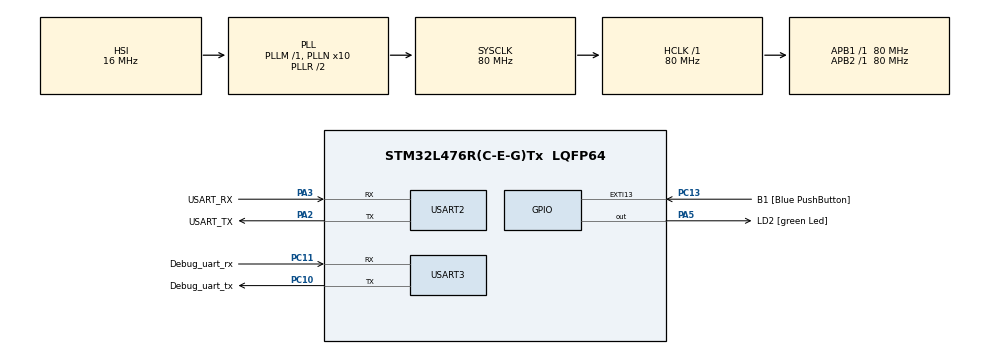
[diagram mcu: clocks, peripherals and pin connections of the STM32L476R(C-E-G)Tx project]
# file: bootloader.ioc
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Mcu.Family=STM32L4
Mcu.Name=STM32L476R(C-E-G)Tx
Mcu.Package=LQFP64
NVIC.EXTI15_10_IRQn=true\:0\:0\:false\:false\:true\:true\:true
NVIC.PriorityGroup=NVIC_PRIORITYGROUP_4
NVIC.USART2_IRQn=true\:0\:0\:false\:false\:true\:true\:true
NVIC.USART3_IRQn=true\:0\:0\:false\:false\:true\:true\:true
PA13\ (JTMS-SWDIO).GPIO_Label=TMS
PA13\ (JTMS-SWDIO).Mode=Serial_Wire
PA13\ (JTMS-SWDIO).Signal=SYS_JTMS-SWDIO
PA14\ (JTCK-SWCLK).GPIO_Label=TCK
PA14\ (JTCK-SWCLK).Mode=Serial_Wire
PA14\ (JTCK-SWCLK).Signal=SYS_JTCK-SWCLK
PA2.GPIO_Label=USART_TX
PA2.GPIO_Mode=GPIO_MODE_AF_PP
PA2.GPIO_PuPd=GPIO_NOPULL
PA2.GPIO_Speed=GPIO_SPEED_FREQ_VERY_HIGH
PA2.Mode=Asynchronous
PA2.Signal=USART2_TX
PA3.GPIO_Label=USART_RX
PA3.GPIO_Mode=GPIO_MODE_AF_PP
PA3.GPIO_PuPd=GPIO_NOPULL
PA3.GPIO_Speed=GPIO_SPEED_FREQ_VERY_HIGH
PA3.Mode=Asynchronous
PA3.Signal=USART2_RX
PA5.GPIO_Label=LD2 [green Led]
PA5.GPIO_ModeDefaultOutputPP=GPIO_MODE_OUTPUT_PP
PA5.GPIO_PuPd=GPIO_NOPULL
PA5.GPIO_Speed=GPIO_SPEED_FREQ_LOW
PA5.Signal=GPIO_Output
PB3\ (JTDO-TRACESWO).GPIO_Label=SWO
PB3\ (JTDO-TRACESWO).Signal=SYS_JTDO-SWO
PC10.GPIO_Label=Debug_uart_tx
PC10.Mode=Asynchronous
PC10.Signal=USART3_TX
PC11.GPIO_Label=Debug_uart_rx
PC11.Mode=Asynchronous
PC11.Signal=USART3_RX
PC13.GPIO_Label=B1 [Blue PushButton]
PC13.GPIO_ModeDefaultEXTI=GPIO_MODE_IT_FALLING
PC13.GPIO_PuPd=GPIO_NOPULL
PC13.Signal=GPXTI13
PC14-OSC32_IN\ (PC14).Mode=LSE-External-Oscillator
PC14-OSC32_IN\ (PC14).Signal=RCC_OSC32_IN
PC15-OSC32_OUT\ (PC15).Mode=LSE-External-Oscillator
PC15-OSC32_OUT\ (PC15).Signal=RCC_OSC32_OUT
PH0-OSC_IN\ (PH0).Signal=RCC_OSC_IN
PH1-OSC_OUT\ (PH1).Signal=RCC_OSC_OUT
ProjectManager.HeapSize=0x200
ProjectManager.StackSize=0x400
ProjectManager.TargetToolchain=TrueSTUDIO
RCC.ADCFreq_Value=64000000
RCC.AHBFreq_Value=80000000
RCC.APB1Freq_Value=80000000
RCC.APB1TimFreq_Value=80000000
RCC.APB2Freq_Value=80000000
RCC.APB2TimFreq_Value=80000000
RCC.CortexFreq_Value=80000000
RCC.HCLKFreq_Value=80000000
RCC.HSE_VALUE=8000000
RCC.HSI_VALUE=16000000
RCC.MSI_VALUE=4000000
RCC.PLLN=10
RCC.PLLSourceVirtual=RCC_PLLSOURCE_HSI
RCC.PREFETCH_ENABLE=1
RCC.SYSCLKFreq_VALUE=80000000
RCC.SYSCLKSource=RCC_SYSCLKSOURCE_PLLCLK
RCC.USBFreq_Value=64000000
RCC.VCOOutputFreq_Value=160000000
USART2.VirtualMode-Asynchronous=VM_ASYNC
USART3.VirtualMode-Asynchronous=VM_ASYNC
VP_CRC_VS_CRC.Mode=CRC_Activate
board=NUCLEO-L476RG

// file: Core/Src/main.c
/* USER CODE BEGIN Header */
/**
  ******************************************************************************
  * @file           : main.c
  * @brief          : Main program body
  ******************************************************************************
  * @attention
  *
  * <h2><center>&copy; Copyright (c) 2021 STMicroelectronics.
  * All rights reserved.</center></h2>
  *
  * This software component is licensed by ST under BSD 3-Clause license,
  * the "License"; You may not use this file except in compliance with the
  * License. You may obtain a copy of the License at:
  *                        opensource.org/licenses/BSD-3-Clause
  *
  ******************************************************************************
  */
#include <stdint.h>
#include <stdio.h>
#include <string.h>
#include <stdlib.h>
#include <stdarg.h>
/* USER CODE END Header */
#include "main.h"

/* USER CODE BEGIN PD */
#define BL_DEBUG_MSG_EN

#define C_UART  &huart2
#define D_UART  &huart3
/* USER CODE END PD */

CRC_HandleTypeDef hcrc;

UART_HandleTypeDef huart2;
UART_HandleTypeDef huart3;

void SystemClock_Config(void);
static void MX_GPIO_Init(void);
static void MX_USART2_UART_Init(void);
static void MX_USART3_UART_Init(void);
static void MX_CRC_Init(void);
/* USER CODE BEGIN PFP */

void printmsg(char *format,...);
void bootloader_uart_readData();
void bootloader_jump_UserApp();

/* USER CODE END PFP */

/* USER CODE BEGIN 0 */
uint8_t supported_commands[] = {
                               BL_GET_VER ,
                               BL_GET_HELP,
                               BL_GET_CID,
                               BL_GET_RDP_STATUS,
                               BL_GO_TO_ADDR,
                               BL_FLASH_ERASE,
                               BL_MEM_WRITE,
                               BL_READ_SECTOR_P_STATUS} ;

char somechar[] = "Hello from Bootloader : Atollic TrueStudio\r\n";

#define BL_RX_LEN  200
uint8_t bl_rx_buffer[BL_RX_LEN];

volatile uint8_t start_bootloader_flag =0;

/* USER CODE END 0 */

int main(void)
{
  /* USER CODE BEGIN 1 */
	uint8_t i = 10;
  /* USER CODE END 1 */

  /* MCU Configuration--------------------------------------------------------*/

  /* Reset of all peripherals, Initializes the Flash interface and the Systick. */
  HAL_Init();

  /* Configure the system clock */
  SystemClock_Config();

  /* Initialize all configured peripherals */
  MX_GPIO_Init();
  MX_USART2_UART_Init();
  MX_USART3_UART_Init();
  MX_CRC_Init();
  /* USER CODE BEGIN 2 */
 do
 {
	  if(start_bootloader_flag == 1)
	  {
		  printmsg("BL_DEBUG_MSG : Button is pressed..., Going to Bootloader Mode \r\n");
		  bootloader_uart_readData();
		  start_bootloader_flag =0;
	  }
	  HAL_Delay(6000);
	  i--;
  }while(i);

	  printmsg("BL_DEBUG_MSG: Button is not pressed ..., Jumping to User applications \r\n");
	  bootloader_jump_UserApp();

  /* USER CODE END 2 */

  /* Infinite loop */
  while (1)
  {

  }
}

void SystemClock_Config(void)
{
  RCC_OscInitTypeDef RCC_OscInitStruct = {0};
  RCC_ClkInitTypeDef RCC_ClkInitStruct = {0};
  RCC_PeriphCLKInitTypeDef PeriphClkInit = {0};

  /** Initializes the RCC Oscillators according to the specified parameters
  * in the RCC_OscInitTypeDef structure.
  */
  RCC_OscInitStruct.OscillatorType = RCC_OSCILLATORTYPE_HSI;
  RCC_OscInitStruct.HSIState = RCC_HSI_ON;
  RCC_OscInitStruct.HSICalibrationValue = RCC_HSICALIBRATION_DEFAULT;
  RCC_OscInitStruct.PLL.PLLState = RCC_PLL_ON;
  RCC_OscInitStruct.PLL.PLLSource = RCC_PLLSOURCE_HSI;
  RCC_OscInitStruct.PLL.PLLM = 1;
  RCC_OscInitStruct.PLL.PLLN = 10;
  RCC_OscInitStruct.PLL.PLLP = RCC_PLLP_DIV7;
  RCC_OscInitStruct.PLL.PLLQ = RCC_PLLQ_DIV2;
  RCC_OscInitStruct.PLL.PLLR = RCC_PLLR_DIV2;
  if (HAL_RCC_OscConfig(&RCC_OscInitStruct) != HAL_OK)
  {
    Error_Handler();
  }
  /** Initializes the CPU, AHB and APB buses clocks
  */
  RCC_ClkInitStruct.ClockType = RCC_CLOCKTYPE_HCLK|RCC_CLOCKTYPE_SYSCLK
                              |RCC_CLOCKTYPE_PCLK1|RCC_CLOCKTYPE_PCLK2;
  RCC_ClkInitStruct.SYSCLKSource = RCC_SYSCLKSOURCE_PLLCLK;
  RCC_ClkInitStruct.AHBCLKDivider = RCC_SYSCLK_DIV1;
  RCC_ClkInitStruct.APB1CLKDivider = RCC_HCLK_DIV1;
  RCC_ClkInitStruct.APB2CLKDivider = RCC_HCLK_DIV1;

  if (HAL_RCC_ClockConfig(&RCC_ClkInitStruct, FLASH_LATENCY_4) != HAL_OK)
  {
    Error_Handler();
  }
  PeriphClkInit.PeriphClockSelection = RCC_PERIPHCLK_USART2|RCC_PERIPHCLK_USART3;
  PeriphClkInit.Usart2ClockSelection = RCC_USART2CLKSOURCE_PCLK1;
  PeriphClkInit.Usart3ClockSelection = RCC_USART3CLKSOURCE_PCLK1;
  if (HAL_RCCEx_PeriphCLKConfig(&PeriphClkInit) != HAL_OK)
  {
    Error_Handler();
  }
  /** Configure the main internal regulator output voltage
  */
  if (HAL_PWREx_ControlVoltageScaling(PWR_REGULATOR_VOLTAGE_SCALE1) != HAL_OK)
  {
    Error_Handler();
  }
}

static void MX_CRC_Init(void)
{

  hcrc.Instance = CRC;
  hcrc.Init.DefaultPolynomialUse = DEFAULT_POLYNOMIAL_ENABLE;
  hcrc.Init.DefaultInitValueUse = DEFAULT_INIT_VALUE_ENABLE;
  hcrc.Init.InputDataInversionMode = CRC_INPUTDATA_INVERSION_NONE;
  hcrc.Init.OutputDataInversionMode = CRC_OUTPUTDATA_INVERSION_DISABLE;
  hcrc.InputDataFormat = CRC_INPUTDATA_FORMAT_BYTES;
  if (HAL_CRC_Init(&hcrc) != HAL_OK)
  {
    Error_Handler();
  }

}

static void MX_USART2_UART_Init(void)
{

  huart2.Instance = USART2;
  huart2.Init.BaudRate = 115200;
  huart2.Init.WordLength = UART_WORDLENGTH_8B;
  huart2.Init.StopBits = UART_STOPBITS_1;
  huart2.Init.Parity = UART_PARITY_NONE;
  huart2.Init.Mode = UART_MODE_TX_RX;
  huart2.Init.HwFlowCtl = UART_HWCONTROL_NONE;
  huart2.Init.OverSampling = UART_OVERSAMPLING_16;
  huart2.Init.OneBitSampling = UART_ONE_BIT_SAMPLE_DISABLE;
  huart2.AdvancedInit.AdvFeatureInit = UART_ADVFEATURE_NO_INIT;
  if (HAL_UART_Init(&huart2) != HAL_OK)
  {
    Error_Handler();
  }

}

static void MX_USART3_UART_Init(void)
{

  huart3.Instance = USART3;
  huart3.Init.BaudRate = 115200;
  huart3.Init.WordLength = UART_WORDLENGTH_8B;
  huart3.Init.StopBits = UART_STOPBITS_1;
  huart3.Init.Parity = UART_PARITY_NONE;
  huart3.Init.Mode = UART_MODE_TX_RX;
  huart3.Init.HwFlowCtl = UART_HWCONTROL_NONE;
  huart3.Init.OverSampling = UART_OVERSAMPLING_16;
  huart3.Init.OneBitSampling = UART_ONE_BIT_SAMPLE_DISABLE;
  huart3.AdvancedInit.AdvFeatureInit = UART_ADVFEATURE_NO_INIT;
  if (HAL_UART_Init(&huart3) != HAL_OK)
  {
    Error_Handler();
  }

}

static void MX_GPIO_Init(void)
{
  GPIO_InitTypeDef GPIO_InitStruct = {0};

  /* GPIO Ports Clock Enable */
  __HAL_RCC_GPIOC_CLK_ENABLE();
  __HAL_RCC_GPIOH_CLK_ENABLE();
  __HAL_RCC_GPIOA_CLK_ENABLE();
  __HAL_RCC_GPIOB_CLK_ENABLE();

  /*Configure GPIO pin Output Level */
  HAL_GPIO_WritePin(LD2_GPIO_Port, LD2_Pin, GPIO_PIN_RESET);

  /*Configure GPIO pin : B1_Pin */
  GPIO_InitStruct.Pin = B1_Pin;
  GPIO_InitStruct.Mode = GPIO_MODE_IT_FALLING;
  GPIO_InitStruct.Pull = GPIO_NOPULL;
  HAL_GPIO_Init(B1_GPIO_Port, &GPIO_InitStruct);

  /*Configure GPIO pin : LD2_Pin */
  GPIO_InitStruct.Pin = LD2_Pin;
  GPIO_InitStruct.Mode = GPIO_MODE_OUTPUT_PP;
  GPIO_InitStruct.Pull = GPIO_NOPULL;
  GPIO_InitStruct.Speed = GPIO_SPEED_FREQ_LOW;
  HAL_GPIO_Init(LD2_GPIO_Port, &GPIO_InitStruct);

  /* EXTI interrupt init*/
  HAL_NVIC_SetPriority(EXTI15_10_IRQn, 0, 0);
  HAL_NVIC_EnableIRQ(EXTI15_10_IRQn);

}

/* USER CODE BEGIN 4 */

/* prints formatted string to console over UART */
 void printmsg(char *format,...)
 {
#ifdef BL_DEBUG_MSG_EN
	char str[80];

	/*Extract the the argument list using VA apis */
	va_list args;
	va_start(args, format);
	vsprintf(str, format,args);
	HAL_UART_Transmit(D_UART,(uint8_t *)str, strlen(str),HAL_MAX_DELAY);
	va_end(args);
#endif
}

void  bootloader_uart_readData()
{
	uint8_t rcv_len =0;

	while(1)
	{
		memset(bl_rx_buffer, 0, 200);
		//here we will read and decode the commands coming from host
		//first read only one byte from the host, which is the "length" field of the command packet
		HAL_UART_Receive(C_UART, bl_rx_buffer,1, HAL_MAX_DELAY);
		rcv_len = bl_rx_buffer[0];
		HAL_UART_Receive(C_UART, (uint8_t *) &bl_rx_buffer,rcv_len,HAL_MAX_DELAY);

		switch(bl_rx_buffer[1])
		{
		case BL_GET_VER:
			bootloader_handle_getver_cmd(bl_rx_buffer);
			break;
		case BL_GET_HELP:
			bootloader_handle_gethelp_cmd(bl_rx_buffer);
			break;
		case BL_GET_CID:
			bootloader_handle_getcid_cmd(bl_rx_buffer);
			break;
		case BL_GET_RDP_STATUS:
			bootloader_handle_getrdp_cmd(bl_rx_buffer);
			break;
		case BL_GO_TO_ADDR:
			bootloader_handle_go_cmd(bl_rx_buffer);
			break;
		case BL_FLASH_ERASE:
			bootloader_handle_flash_erase_cmd(bl_rx_buffer);
			break;
		case BL_MEM_WRITE:
			bootloader_handle_flash_write_cmd(bl_rx_buffer);
			break;
		case BL_EN_RW_PROTECT:
			bootloader_handle_en_rw_protect(bl_rx_buffer);
			break;
		case BL_MEM_READ:
			bootloader_handle_flash_read(bl_rx_buffer);
			break;
		case BL_READ_SECTOR_P_STATUS:
			bootloader_handle_read_sector_status(bl_rx_buffer);
			break;
		case BL_OTP_READ:
			bootloader_handle_read_otp(bl_rx_buffer);
			break;
		case BL_DIS_R_W_PROTECT:
			 bootloader_handle_dis_rw_protect(bl_rx_buffer);
			break;
		default:
			printmsg("BL_DEBUG_MSG:Invalid command code received from host \n");
			break;

		}

	}

}

void bootloader_jump_UserApp()
{

	//just a function pointer address to hold the address of the reset handler of the user app
	void (*app_reset_handler)();

	printmsg("BL_DEBUG_MSG:bootloader_jump_to_user_app\n");

	 // 1. configure the MSP by reading the value from the base address of the sector 16
	int32_t msp_value = *(volatile uint32_t *)FLASH_SECTOR2_BASE_ADDRESS;
	printmsg("BL_DEBUG_MSG:MSP value : %#x\n",msp_value);

	//This function comes from CMSIS.
	__set_MSP(msp_value);

	//SCB->VTOR = FLASH_SECTOR1_BASE_ADDRESS;

	/* 2. Now fetch the reset handler address of the user application
	 * from the location FLASH_SECTOR2_BASE_ADDRESS+4
	 */
	uint32_t resethandler_address = *(volatile uint32_t *) (FLASH_SECTOR2_BASE_ADDRESS + 4);

	app_reset_handler = (void*) resethandler_address;

	printmsg("BL_DEBUG_MSG: app reset handler addr : %#x\n",app_reset_handler);

	//3. jump to reset handler of the user application
	app_reset_handler();

}

void bootloader_send_nack(void)
{
	uint8_t nack = BL_NACK;
	HAL_UART_Transmit(C_UART,&nack, 1 , HAL_MAX_DELAY );

}

void bootloader_send_ack(uint8_t command_code, uint8_t follow_len)
{
  //here we send 2byte.. first is ack and the second byte is len value
	uint8_t ack_buf[2];

	ack_buf[0] = BL_ACK;
	ack_buf[1] = follow_len;
	HAL_UART_Transmit(C_UART, ack_buf, 2, HAL_MAX_DELAY);

}

/*Helper functions to handle BL_GET_VER command */
void bootloader_handle_getver_cmd(uint8_t *bl_rx_buffer)
{
	uint8_t bl_version;
	uint32_t host_crc;

	//1) Verify the checksum
	printmsg("BL_DEBUG_MSG:bootloader handle_getver_cmd \r\n");

	//Total lenghth of the command packet
	uint32_t command_packet_len = bl_rx_buffer[0]+1;

	//extract the crc32 sent by the host
	 host_crc = *((uint32_t *) (bl_rx_buffer+command_packet_len-4));

	if(!bootloader_verify_crc(&bl_rx_buffer[0],command_packet_len-4, host_crc ))
	{
		printmsg("BL_DEBUG_MSG : Checksum success !! \r\n");
		//checksum is correct
		bootloader_send_ack(bl_rx_buffer[0],1);
		bl_version = get_bootloader_version();
		printmsg("BL_DEBUG_MSG: BL_ver : %d %#x \r\n", bl_version, bl_version);
		bootloader_uart_write_data(&bl_version,1);
	}
	else
	{
		printmsg("BL_DEBUG_MSG: Checksum Fail !! \r\n");
		//checksum is wrong & send nack to host
		bootloader_send_nack();
	}

}

/*Helper functions to handle BL_GET_HELP command */
void bootloader_handle_gethelp_cmd(uint8_t *pbuffer)
{

}

/*Helper functions to handle BL_GET_CID command */
void bootloader_handle_getcid_cmd(uint8_t *pbuffer)
{

}
void bootloader_handle_getrdp_cmd(uint8_t *pbuffer)
{

}
void bootloader_handle_go_cmd(uint8_t *pbuffer)
{

}
void bootloader_handle_flash_erase_cmd(uint8_t *pbuffer)
{

}
void bootloader_handle_flash_write_cmd(uint8_t *pbuffer)
{

}

void bootloader_handle_flash_read(uint8_t *pbuffer)
{

}

void bootloader_handle_en_rw_protect(uint8_t *pbuffer)
{

}
void bootloader_handle_read_sector_status(uint8_t *pbuffer)
{

}

void bootloader_handle_read_otp(uint8_t *pbuffer)
{

}

void bootloader_handle_dis_rw_protect(uint8_t *pBuffer)
{

}

uint8_t bootloader_verify_crc (uint8_t *pData, uint32_t len,uint32_t crc_host)
{
	uint32_t uwCRCValue = 0xff;
	uint32_t i, i_data;

	for(i=0; i < len ;i++)
	{
		i_data = pData[i] ;
		uwCRCValue = HAL_CRC_Accumulate(&hcrc, &i_data, 1);
	}

	if(uwCRCValue == crc_host)
	{
		return VERIFY_CRC_SUCCESS;
	}

	return VERIFY_CRC_FAIL;
}

uint8_t get_bootloader_version(void)
{
	return (uint8_t)BL_VERSION;

}

//This functions writes data in to UART */
void bootloader_uart_write_data(uint8_t *pBuffer,uint32_t len)
{
	/* you can replace the below ST's USART driver API call with our MCU Driver */
	HAL_UART_Transmit(C_UART, pBuffer,len, HAL_MAX_DELAY);

}

/* USER CODE END 4 */

void Error_Handler(void)
{
  __disable_irq();
  while (1)
  {
  }
}

/************************ (C) COPYRIGHT STMicroelectronics *****END OF FILE****/
